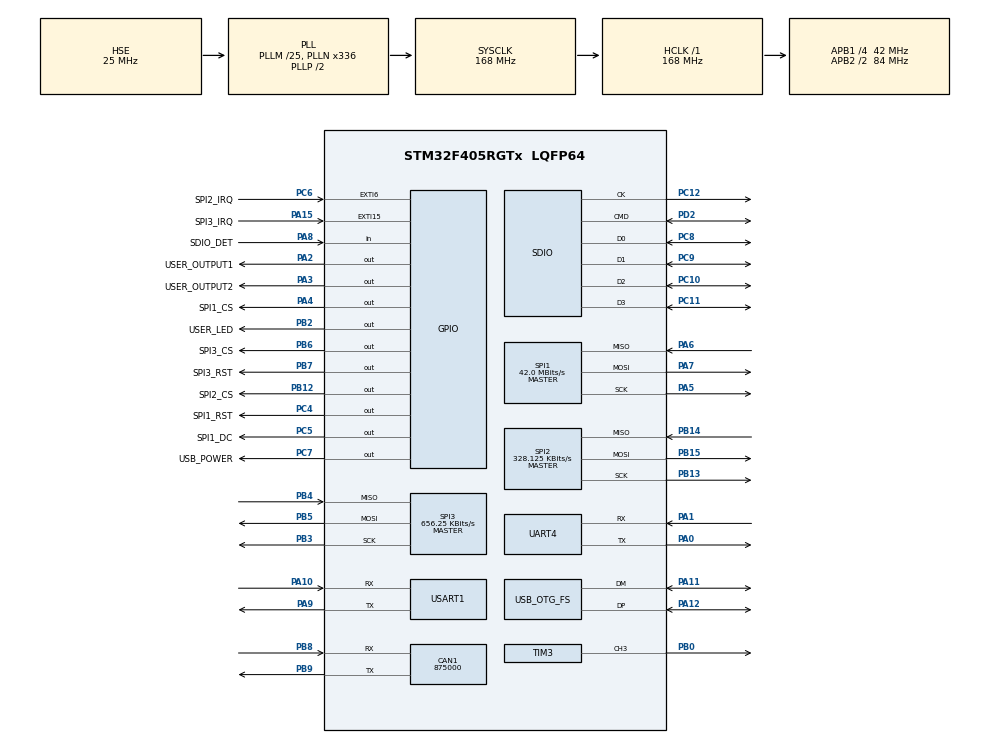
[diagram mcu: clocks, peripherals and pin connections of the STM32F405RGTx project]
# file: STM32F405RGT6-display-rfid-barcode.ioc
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ADC1.Channel-0\#ChannelRegularConversion=ADC_CHANNEL_TEMPSENSOR
ADC1.NbrOfConversionFlag=1
ADC1.Rank-0\#ChannelRegularConversion=1
ADC1.SamplingTime-0\#ChannelRegularConversion=ADC_SAMPLETIME_3CYCLES
ADC1.master=1
CAN1.CalculateBaudRate=875000
CAN1.CalculateTimeBit=1142
CAN1.CalculateTimeQuantum=380.95238095238096
Dma.Request0=SDIO
Dma.Request1=SPI1_RX
Dma.Request2=SPI1_TX
Dma.Request3=SPI2_RX
Dma.Request4=SPI2_TX
Dma.Request5=SPI3_RX
Dma.Request6=SPI3_TX
Dma.Request7=USART1_RX
Dma.Request8=USART1_TX
Dma.SDIO.0.Direction=DMA_PERIPH_TO_MEMORY
Dma.SDIO.0.FIFOMode=DMA_FIFOMODE_ENABLE
Dma.SDIO.0.FIFOThreshold=DMA_FIFO_THRESHOLD_FULL
Dma.SDIO.0.Instance=DMA2_Stream3
Dma.SDIO.0.MemBurst=DMA_MBURST_INC4
Dma.SDIO.0.MemDataAlignment=DMA_MDATAALIGN_WORD
Dma.SDIO.0.MemInc=DMA_MINC_ENABLE
Dma.SDIO.0.Mode=DMA_PFCTRL
Dma.SDIO.0.PeriphBurst=DMA_PBURST_INC4
Dma.SDIO.0.PeriphDataAlignment=DMA_PDATAALIGN_WORD
Dma.SDIO.0.PeriphInc=DMA_PINC_DISABLE
Dma.SDIO.0.Priority=DMA_PRIORITY_LOW
Dma.SPI1_RX.1.Direction=DMA_PERIPH_TO_MEMORY
Dma.SPI1_RX.1.FIFOMode=DMA_FIFOMODE_DISABLE
Dma.SPI1_RX.1.Instance=DMA2_Stream0
Dma.SPI1_RX.1.MemDataAlignment=DMA_MDATAALIGN_BYTE
Dma.SPI1_RX.1.MemInc=DMA_MINC_ENABLE
Dma.SPI1_RX.1.Mode=DMA_NORMAL
Dma.SPI1_RX.1.PeriphDataAlignment=DMA_PDATAALIGN_BYTE
Dma.SPI1_RX.1.PeriphInc=DMA_PINC_DISABLE
Dma.SPI1_RX.1.Priority=DMA_PRIORITY_LOW
Dma.SPI1_TX.2.Direction=DMA_MEMORY_TO_PERIPH
Dma.SPI1_TX.2.FIFOMode=DMA_FIFOMODE_DISABLE
Dma.SPI1_TX.2.Instance=DMA2_Stream5
Dma.SPI1_TX.2.MemDataAlignment=DMA_MDATAALIGN_BYTE
Dma.SPI1_TX.2.MemInc=DMA_MINC_ENABLE
Dma.SPI1_TX.2.Mode=DMA_NORMAL
Dma.SPI1_TX.2.PeriphDataAlignment=DMA_PDATAALIGN_BYTE
Dma.SPI1_TX.2.PeriphInc=DMA_PINC_DISABLE
Dma.SPI1_TX.2.Priority=DMA_PRIORITY_LOW
Dma.SPI2_RX.3.Direction=DMA_PERIPH_TO_MEMORY
Dma.SPI2_RX.3.FIFOMode=DMA_FIFOMODE_DISABLE
Dma.SPI2_RX.3.Instance=DMA1_Stream3
Dma.SPI2_RX.3.MemDataAlignment=DMA_MDATAALIGN_BYTE
Dma.SPI2_RX.3.MemInc=DMA_MINC_ENABLE
Dma.SPI2_RX.3.Mode=DMA_NORMAL
Dma.SPI2_RX.3.PeriphDataAlignment=DMA_PDATAALIGN_BYTE
Dma.SPI2_RX.3.PeriphInc=DMA_PINC_DISABLE
Dma.SPI2_RX.3.Priority=DMA_PRIORITY_LOW
Dma.SPI2_TX.4.Direction=DMA_MEMORY_TO_PERIPH
Dma.SPI2_TX.4.FIFOMode=DMA_FIFOMODE_DISABLE
Dma.SPI2_TX.4.Instance=DMA1_Stream4
Dma.SPI2_TX.4.MemDataAlignment=DMA_MDATAALIGN_BYTE
Dma.SPI2_TX.4.MemInc=DMA_MINC_ENABLE
Dma.SPI2_TX.4.Mode=DMA_NORMAL
Dma.SPI2_TX.4.PeriphDataAlignment=DMA_PDATAALIGN_BYTE
Dma.SPI2_TX.4.PeriphInc=DMA_PINC_DISABLE
Dma.SPI2_TX.4.Priority=DMA_PRIORITY_LOW
Dma.SPI3_RX.5.Direction=DMA_PERIPH_TO_MEMORY
Dma.SPI3_RX.5.FIFOMode=DMA_FIFOMODE_DISABLE
Dma.SPI3_RX.5.Instance=DMA1_Stream0
Dma.SPI3_RX.5.MemDataAlignment=DMA_MDATAALIGN_BYTE
Dma.SPI3_RX.5.MemInc=DMA_MINC_ENABLE
Dma.SPI3_RX.5.Mode=DMA_NORMAL
Dma.SPI3_RX.5.PeriphDataAlignment=DMA_PDATAALIGN_BYTE
Dma.SPI3_RX.5.PeriphInc=DMA_PINC_DISABLE
Dma.SPI3_RX.5.Priority=DMA_PRIORITY_LOW
Dma.SPI3_TX.6.Direction=DMA_MEMORY_TO_PERIPH
Dma.SPI3_TX.6.FIFOMode=DMA_FIFOMODE_DISABLE
Dma.SPI3_TX.6.Instance=DMA1_Stream5
Dma.SPI3_TX.6.MemDataAlignment=DMA_MDATAALIGN_BYTE
Dma.SPI3_TX.6.MemInc=DMA_MINC_ENABLE
Dma.SPI3_TX.6.Mode=DMA_NORMAL
Dma.SPI3_TX.6.PeriphDataAlignment=DMA_PDATAALIGN_BYTE
Dma.SPI3_TX.6.PeriphInc=DMA_PINC_DISABLE
Dma.SPI3_TX.6.Priority=DMA_PRIORITY_LOW
Dma.USART1_RX.7.Direction=DMA_PERIPH_TO_MEMORY
Dma.USART1_RX.7.FIFOMode=DMA_FIFOMODE_DISABLE
Dma.USART1_RX.7.Instance=DMA2_Stream2
Dma.USART1_RX.7.MemDataAlignment=DMA_MDATAALIGN_BYTE
Dma.USART1_RX.7.MemInc=DMA_MINC_ENABLE
Dma.USART1_RX.7.Mode=DMA_NORMAL
Dma.USART1_RX.7.PeriphDataAlignment=DMA_PDATAALIGN_BYTE
Dma.USART1_RX.7.PeriphInc=DMA_PINC_DISABLE
Dma.USART1_RX.7.Priority=DMA_PRIORITY_LOW
Dma.USART1_TX.8.Direction=DMA_MEMORY_TO_PERIPH
Dma.USART1_TX.8.FIFOMode=DMA_FIFOMODE_DISABLE
Dma.USART1_TX.8.Instance=DMA2_Stream7
Dma.USART1_TX.8.MemDataAlignment=DMA_MDATAALIGN_BYTE
Dma.USART1_TX.8.MemInc=DMA_MINC_ENABLE
Dma.USART1_TX.8.Mode=DMA_NORMAL
Dma.USART1_TX.8.PeriphDataAlignment=DMA_PDATAALIGN_BYTE
Dma.USART1_TX.8.PeriphInc=DMA_PINC_DISABLE
Dma.USART1_TX.8.Priority=DMA_PRIORITY_LOW
FATFS.BSP.number=1
FATFS0.BSP.STBoard=false
FATFS0.BSP.api=Unknown
FATFS0.BSP.instance=PA8
FATFS0.BSP.ip=GPIO
FATFS0.BSP.mode=Input
FATFS0.BSP.name=Detect_SDIO
FATFS0.BSP.solution=PA8
Mcu.Family=STM32F4
Mcu.Name=STM32F405RGTx
Mcu.Package=LQFP64
NVIC.CAN1_RX0_IRQn=true\:0\:0\:false\:false\:true\:true\:true\:true
NVIC.CAN1_RX1_IRQn=true\:0\:0\:false\:false\:true\:true\:true\:true
NVIC.CAN1_SCE_IRQn=true\:0\:0\:false\:false\:true\:true\:true\:true
NVIC.CAN1_TX_IRQn=true\:0\:0\:false\:false\:true\:true\:true\:true
NVIC.DMA1_Stream0_IRQn=true\:0\:0\:false\:false\:true\:false\:true\:true
NVIC.DMA1_Stream3_IRQn=true\:0\:0\:false\:false\:true\:false\:true\:true
NVIC.DMA1_Stream4_IRQn=true\:0\:0\:false\:false\:true\:false\:true\:true
NVIC.DMA1_Stream5_IRQn=true\:0\:0\:false\:false\:true\:false\:true\:true
NVIC.DMA2_Stream0_IRQn=true\:0\:0\:false\:false\:true\:false\:true\:true
NVIC.DMA2_Stream2_IRQn=true\:0\:0\:false\:false\:true\:false\:true\:true
NVIC.DMA2_Stream3_IRQn=true\:0\:0\:false\:false\:true\:false\:true\:true
NVIC.DMA2_Stream5_IRQn=true\:0\:0\:false\:false\:true\:false\:true\:true
NVIC.DMA2_Stream7_IRQn=true\:0\:0\:false\:false\:true\:false\:true\:true
NVIC.OTG_FS_IRQn=true\:0\:0\:false\:false\:true\:false\:true\:true
NVIC.PriorityGroup=NVIC_PRIORITYGROUP_4
NVIC.SDIO_IRQn=true\:0\:0\:false\:false\:true\:true\:true\:true
NVIC.SPI1_IRQn=true\:0\:0\:false\:false\:true\:true\:true\:true
NVIC.SPI2_IRQn=true\:0\:0\:false\:false\:true\:true\:true\:true
NVIC.SPI3_IRQn=true\:0\:0\:false\:false\:true\:true\:true\:true
NVIC.UART4_IRQn=true\:0\:0\:false\:false\:true\:true\:true\:true
NVIC.USART1_IRQn=true\:0\:0\:false\:false\:true\:true\:true\:true
PA0-WKUP.Mode=Asynchronous
PA0-WKUP.Signal=UART4_TX
PA1.Mode=Asynchronous
PA1.Signal=UART4_RX
PA10.Mode=Asynchronous
PA10.Signal=USART1_RX
PA11.Mode=Host_Only
PA11.Signal=USB_OTG_FS_DM
PA12.Mode=Host_Only
PA12.Signal=USB_OTG_FS_DP
PA13.Mode=Serial_Wire
PA13.Signal=SYS_JTMS-SWDIO
PA14.Mode=Serial_Wire
PA14.Signal=SYS_JTCK-SWCLK
PA15.GPIO_Label=SPI3_IRQ
PA15.Signal=GPXTI15
PA2.GPIO_Label=USER_OUTPUT1
PA2.Signal=GPIO_Output
PA3.GPIO_Label=USER_OUTPUT2
PA3.Signal=GPIO_Output
PA4.GPIO_Label=SPI1_CS
PA4.Signal=GPIO_Output
PA5.Mode=Full_Duplex_Master
PA5.Signal=SPI1_SCK
PA6.Mode=Full_Duplex_Master
PA6.Signal=SPI1_MISO
PA7.Mode=Full_Duplex_Master
PA7.Signal=SPI1_MOSI
PA8.GPIO_Label=SDIO_DET
PA8.Signal=GPIO_Input
PA9.Mode=Asynchronous
PA9.Signal=USART1_TX
PB0.Signal=S_TIM3_CH3
PB12.GPIO_Label=SPI2_CS
PB12.Signal=GPIO_Output
PB13.Mode=Full_Duplex_Master
PB13.Signal=SPI2_SCK
PB14.Mode=Full_Duplex_Master
PB14.Signal=SPI2_MISO
PB15.Mode=Full_Duplex_Master
PB15.Signal=SPI2_MOSI
PB2.GPIO_Label=USER_LED
PB2.Signal=GPIO_Output
PB3.Mode=Full_Duplex_Master
PB3.Signal=SPI3_SCK
PB4.Mode=Full_Duplex_Master
PB4.Signal=SPI3_MISO
PB5.Mode=Full_Duplex_Master
PB5.Signal=SPI3_MOSI
PB6.GPIO_Label=SPI3_CS
PB6.Signal=GPIO_Output
PB7.GPIO_Label=SPI3_RST
PB7.Signal=GPIO_Output
PB8.Mode=CAN_Activate
PB8.Signal=CAN1_RX
PB9.Mode=CAN_Activate
PB9.Signal=CAN1_TX
PC10.GPIO_PuPd=GPIO_PULLUP
PC10.Mode=SD_4_bits_Wide_bus
PC10.Signal=SDIO_D2
PC11.GPIO_PuPd=GPIO_PULLUP
PC11.Mode=SD_4_bits_Wide_bus
PC11.Signal=SDIO_D3
PC12.GPIO_PuPd=GPIO_PULLUP
PC12.Mode=SD_4_bits_Wide_bus
PC12.Signal=SDIO_CK
PC14-OSC32_IN.Mode=LSE-External-Oscillator
PC14-OSC32_IN.Signal=RCC_OSC32_IN
PC15-OSC32_OUT.Mode=LSE-External-Oscillator
PC15-OSC32_OUT.Signal=RCC_OSC32_OUT
PC4.GPIO_Label=SPI1_RST
PC4.Signal=GPIO_Output
PC5.GPIO_Label=SPI1_DC
PC5.Signal=GPIO_Output
PC6.GPIO_Label=SPI2_IRQ
PC6.Signal=GPXTI6
PC7.GPIO_Label=USB_POWER
PC7.Signal=GPIO_Output
PC8.GPIO_PuPd=GPIO_PULLUP
PC8.Mode=SD_4_bits_Wide_bus
PC8.Signal=SDIO_D0
PC9.GPIO_PuPd=GPIO_PULLUP
PC9.Mode=SD_4_bits_Wide_bus
PC9.Signal=SDIO_D1
PD2.GPIO_PuPd=GPIO_PULLUP
PD2.Mode=SD_4_bits_Wide_bus
PD2.Signal=SDIO_CMD
PH0-OSC_IN.Mode=HSE-External-Oscillator
PH0-OSC_IN.Signal=RCC_OSC_IN
PH1-OSC_OUT.Mode=HSE-External-Oscillator
PH1-OSC_OUT.Signal=RCC_OSC_OUT
ProjectManager.HeapSize=0x2000
ProjectManager.StackSize=0x4000
ProjectManager.TargetToolchain=STM32CubeIDE
RCC.48MHZClocksFreq_Value=48000000
RCC.AHBFreq_Value=168000000
RCC.APB1CLKDivider=RCC_HCLK_DIV4
RCC.APB1Freq_Value=42000000
RCC.APB1TimFreq_Value=84000000
RCC.APB2CLKDivider=RCC_HCLK_DIV2
RCC.APB2Freq_Value=84000000
RCC.APB2TimFreq_Value=168000000
RCC.CortexFreq_Value=168000000
RCC.HCLKFreq_Value=168000000
RCC.HSE_VALUE=25000000
RCC.HSI_VALUE=16000000
RCC.PLLM=25
RCC.PLLN=336
RCC.PLLQ=7
RCC.SYSCLKFreq_VALUE=168000000
RCC.SYSCLKSource=RCC_SYSCLKSOURCE_PLLCLK
RCC.VCOOutputFreq_Value=336000000
SDIO.ClockDiv=32
SH.S_TIM3_CH3.0=TIM3_CH3,PWM Generation3 CH3
SPI1.BaudRatePrescaler=SPI_BAUDRATEPRESCALER_2
SPI1.CalculateBaudRate=42.0 MBits/s
SPI1.Direction=SPI_DIRECTION_2LINES
SPI1.Mode=SPI_MODE_MASTER
SPI1.VirtualType=VM_MASTER
SPI2.BaudRatePrescaler=SPI_BAUDRATEPRESCALER_128
SPI2.CalculateBaudRate=328.125 KBits/s
SPI2.Direction=SPI_DIRECTION_2LINES
SPI2.Mode=SPI_MODE_MASTER
SPI2.VirtualType=VM_MASTER
SPI3.BaudRatePrescaler=SPI_BAUDRATEPRESCALER_64
SPI3.CalculateBaudRate=656.25 KBits/s
SPI3.Direction=SPI_DIRECTION_2LINES
SPI3.Mode=SPI_MODE_MASTER
SPI3.VirtualType=VM_MASTER
TIM3.Channel-PWM\ Generation3\ CH3=TIM_CHANNEL_3
UART4.VirtualMode=Asynchronous
USART1.VirtualMode=VM_ASYNC
USB_HOST.BSP.number=1
USB_HOST.USBH_HandleTypeDef-HID_FS=hUsbHostFS
USB_HOST.VirtualModeFS=Hid
USB_HOST0.BSP.STBoard=false
USB_HOST0.BSP.api=Unknown
USB_HOST0.BSP.condition=SW_VBUS_DRIVE_HID_FS \= false
USB_HOST0.BSP.instance=PC7
USB_HOST0.BSP.ip=GPIO
USB_HOST0.BSP.mode=Output
USB_HOST0.BSP.name=Drive_VBUS_FS
USB_HOST0.BSP.solution=PC7
USB_OTG_FS.VirtualMode=Host_Only
USB_OTG_FS.phy_itface=HCD_PHY_EMBEDDED
VP_ADC1_TempSens_Input.Mode=IN-TempSens
VP_FATFS_VS_SDIO.Mode=SDIO
VP_RTC_VS_RTC_Activate.Mode=RTC_Enabled
VP_RTC_VS_RTC_Calendar.Mode=RTC_Calendar
VP_TIM14_VS_ClockSourceINT.Mode=Enable_Timer
VP_USB_HOST_VS_USB_HOST_HID_FS.Mode=HID_FS
board=custom

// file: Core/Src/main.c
/* USER CODE BEGIN Header */
/**
 ******************************************************************************
 * @file           : main.c
 * @brief          : Main program body
 ******************************************************************************
 * @attention
 *
 * Copyright (c) 2026 STMicroelectronics.
 * All rights reserved.
 *
 * This software is licensed under terms that can be found in the LICENSE file
 * in the root directory of this software component.
 * If no LICENSE file comes with this software, it is provided AS-IS.
 *
 ******************************************************************************
 */
/* USER CODE END Header */
#include "main.h"
#include "fatfs.h"
#include "usb_host.h"

/* USER CODE BEGIN Includes */
#include "ili9488.h"
#include "xpt2046.h"
#include "clrc663.h"
#include "fonts.h"
#include <stdio.h>
#include <string.h>
#include <stdbool.h>
#include "lvgl.h"
#include "eez/ui.h"
#include "usbh_core.h"
#include "usbh_hid.h"
#include "usbh_hid_keybd.h"
/* USER CODE END Includes */

/* USER CODE BEGIN PD */
#define COLOR_BG          0x0821   // Dark Charcoal / Navy Background
#define COLOR_CARD_HERO   0x18C3   // Dark Slate Hero Card
#define COLOR_CARD_TOUCH  0x10A2   // Dark Slate Touch Card
/* USER CODE END PD */

ADC_HandleTypeDef hadc1;

CAN_HandleTypeDef hcan1;

RTC_HandleTypeDef hrtc;

SD_HandleTypeDef hsd;
DMA_HandleTypeDef hdma_sdio;

SPI_HandleTypeDef hspi1;
SPI_HandleTypeDef hspi2;
SPI_HandleTypeDef hspi3;
DMA_HandleTypeDef hdma_spi1_rx;
DMA_HandleTypeDef hdma_spi1_tx;
DMA_HandleTypeDef hdma_spi2_rx;
DMA_HandleTypeDef hdma_spi2_tx;
DMA_HandleTypeDef hdma_spi3_rx;
DMA_HandleTypeDef hdma_spi3_tx;

TIM_HandleTypeDef htim3;
TIM_HandleTypeDef htim14;

UART_HandleTypeDef huart4;
UART_HandleTypeDef huart1;
DMA_HandleTypeDef hdma_usart1_rx;
DMA_HandleTypeDef hdma_usart1_tx;

void SystemClock_Config(void);
static void MX_GPIO_Init(void);
static void MX_DMA_Init(void);
static void MX_CAN1_Init(void);
static void MX_SDIO_SD_Init(void);
static void MX_SPI1_Init(void);
static void MX_SPI2_Init(void);
static void MX_SPI3_Init(void);
static void MX_UART4_Init(void);
static void MX_USART1_UART_Init(void);
static void MX_TIM3_Init(void);
static void MX_RTC_Init(void);
static void MX_ADC1_Init(void);
static void MX_TIM14_Init(void);
void MX_USB_HOST_Process(void);

/* USER CODE BEGIN PFP */
static void my_disp_flush(lv_display_t *disp, const lv_area_t *area, uint8_t *px_map);
static void my_touchpad_read(lv_indev_t *indev, lv_indev_data_t *data);

void App_DrawMainUI(void);
void App_RFIDProcess(void);
void App_TouchProcess(void);
/* USER CODE END PFP */

/* USER CODE BEGIN 0 */
extern USBH_HandleTypeDef hUsbHostFS;

static lv_timer_t * return_main_timer = NULL;
static void return_main_cb(lv_timer_t * t) {
    loadScreen(SCREEN_ID_MAIN_SCREEN);
    return_main_timer = NULL;
}

uint8_t uart1_rx_data;
char uart1_rx_buf[256];
uint16_t uart1_rx_idx = 0;
volatile uint8_t uart1_rx_ready = 0;

volatile uint32_t last_activity_time = 0;
volatile bool door_is_open = false;
volatile uint32_t door_open_time = 0;
int door_duration_s = 5;
int standby_duration_m = 5;

void HAL_UART_RxCpltCallback(UART_HandleTypeDef *huart) {
    if (huart->Instance == USART1) {
        if (uart1_rx_data == '\n' || uart1_rx_data == '\r') {
            uart1_rx_buf[uart1_rx_idx] = '\0';
            if (uart1_rx_idx > 0) {
                uart1_rx_ready = 1;
            }
        } else {
            if (uart1_rx_idx < sizeof(uart1_rx_buf) - 1) {
                uart1_rx_buf[uart1_rx_idx++] = uart1_rx_data;
            }
        }
        if (!uart1_rx_ready) {
            HAL_UART_Receive_IT(&huart1, &uart1_rx_data, 1);
        }
        last_activity_time = HAL_GetTick(); // Wake up on UART
    }
}

static void rtc_update_timer_cb(lv_timer_t * timer) {
    if (objects.obj0 != NULL && lv_obj_is_valid(objects.obj0)) {
        RTC_TimeTypeDef sTime = {0};
        RTC_DateTypeDef sDate = {0};
        HAL_RTC_GetTime(&hrtc, &sTime, RTC_FORMAT_BIN);
        HAL_RTC_GetDate(&hrtc, &sDate, RTC_FORMAT_BIN);

        char buf[64];
        snprintf(buf, sizeof(buf), "%02d:%02d:%02d - %02d/%02d/20%02d",
                 sTime.Hours, sTime.Minutes, sTime.Seconds,
                 sDate.Date, sDate.Month, sDate.Year);
        lv_label_set_text(objects.obj0, buf);
    }
}

void USBH_HID_EventCallback(USBH_HandleTypeDef *phost)
{
    if (phost == &hUsbHostFS)
    {
        HID_KEYBD_Info_TypeDef *k_pinfo;
        k_pinfo = USBH_HID_GetKeybdInfo(phost);

        if (k_pinfo != NULL && k_pinfo->keys[0] != 0)
        {
            char c = USBH_HID_GetASCIICode(k_pinfo);
            static char barcode[64];
            static int b_idx = 0;

            if (c != 0) {
                if (c == '\n' || c == '\r') {
                    barcode[b_idx] = '\0';
                    if (b_idx > 0) {
                        char msg[128];
                        snprintf(msg, sizeof(msg), "BARCODE:%s\n", barcode);
                        HAL_UART_Transmit(&huart1, (uint8_t*)msg, strlen(msg), 100);
                        b_idx = 0;
                    }
                } else {
                    if (b_idx < sizeof(barcode) - 1) {
                        barcode[b_idx++] = c;
                    }
                }
            }
        }
    }
}

static void my_disp_flush(lv_display_t *disp, const lv_area_t *area, uint8_t *px_map) {
  ILI9488_DrawBitmapLVGL(area->x1, area->y1, area->x2, area->y2, px_map);
  lv_display_flush_ready(disp);
}

// Forward declarations for EEZ Studio functions
extern void loadScreen(enum ScreensEnum screenId);
extern objects_t objects;

// Timer callback to switch to Admin Password screen
static lv_timer_t *admin_timer = NULL;
static void go_admin_cb(lv_timer_t *t) {
  if (objects.textarea_input_password != NULL) {
    lv_textarea_set_text(objects.textarea_input_password, "");
  }
  loadScreen(SCREEN_ID_ADMIN_PASSWORD);
}

// Admin login button pressed on Main Screen
void action_btn_admin_on_pressed(lv_event_t *e) {
  if (admin_timer == NULL) {
    admin_timer = lv_timer_create(go_admin_cb, 50, NULL);
    lv_timer_set_repeat_count(admin_timer, 1);
  } else {
    lv_timer_resume(admin_timer);
    lv_timer_reset(admin_timer);
  }
}

// Dummy for unused actions
void action_button_matrix_password_pressed(lv_event_t * e) {}

// Keypad Actions
static void add_pwd_char(const char *c) {
    if (objects.textarea_input_password != NULL) {
        lv_textarea_add_text(objects.textarea_input_password, c);
    }
}
void action_pwd_btn_1_pressed(lv_event_t * e) { add_pwd_char("1"); }
void action_pwd_btn_2_pressed(lv_event_t * e) { add_pwd_char("2"); }
void action_pwd_btn_3_pressed(lv_event_t * e) { add_pwd_char("3"); }
void action_pwd_btn_4_pressed(lv_event_t * e) { add_pwd_char("4"); }
void action_pwd_btn_5_pressed(lv_event_t * e) { add_pwd_char("5"); }
void action_pwd_btn_6_pressed(lv_event_t * e) { add_pwd_char("6"); }
void action_pwd_btn_7_pressed(lv_event_t * e) { add_pwd_char("7"); }
void action_pwd_btn_8_pressed(lv_event_t * e) { add_pwd_char("8"); }
void action_pwd_btn_9_pressed(lv_event_t * e) { add_pwd_char("9"); }
void action_pwd_btn_0_pressed(lv_event_t * e) { add_pwd_char("0"); }
void action_pwd_btn_del_pressed(lv_event_t * e) {
    if (objects.textarea_input_password != NULL) {
        lv_textarea_delete_char(objects.textarea_input_password);
    }
}
void action_pwd_btn_ok_pressed(lv_event_t * e) {
    if (objects.textarea_input_password != NULL) {
        const char *pwd = lv_textarea_get_text(objects.textarea_input_password);
        if (strcmp(pwd, "1234") == 0) { // Password "1234"
            loadScreen(SCREEN_ID_ADMIN_USERS);
            lv_textarea_set_text(objects.textarea_input_password, ""); // clear for next time
        } else {
            // Wrong password, clear textarea
            lv_textarea_set_text(objects.textarea_input_password, "");
        }
    }
}

// Load Screens
void action_load_admin_users(lv_event_t * e) { loadScreen(SCREEN_ID_ADMIN_USERS); }
void action_load_admin_history(lv_event_t * e) { loadScreen(SCREEN_ID_ADMIN_HISTORY); }
void action_load_admin_settings(lv_event_t * e) { loadScreen(SCREEN_ID_ADMIN_SETTINGS); }
void action_load_admin_test(lv_event_t * e) { loadScreen(SCREEN_ID_ADMIN_TEST); }
void action_load_main(lv_event_t * e) { loadScreen(SCREEN_ID_MAIN_SCREEN); }

static uint32_t corner_touch_start = 0;
static bool corner_touching = false;

static void my_touchpad_read(lv_indev_t *indev, lv_indev_data_t *data) {
  uint16_t touch_x = 0, touch_y = 0;
  if (XPT2046_GetTouch(&touch_x, &touch_y)) {
    data->state = LV_INDEV_STATE_PRESSED;
    data->point.x = touch_x;
    data->point.y = touch_y;
    last_activity_time = HAL_GetTick();

    if (touch_x > 400 && touch_y > 260 && lv_scr_act() == objects.main_screen) {
        if (!corner_touching) {
            corner_touching = true;
            corner_touch_start = HAL_GetTick();
        } else {
            if (HAL_GetTick() - corner_touch_start >= 3000) {
                if (objects.textarea_input_password != NULL) {
                    lv_textarea_set_text(objects.textarea_input_password, "");
                }
                loadScreen(SCREEN_ID_ADMIN_PASSWORD);
                corner_touching = false;
            }
        }
    } else {
        corner_touching = false;
    }
  } else {
    data->state = LV_INDEV_STATE_RELEASED;
    corner_touching = false;
  }
}

/* Global RFID & System states */
bool g_clrc663_ready = false;
uint8_t g_clrc663_version = 0;
uint32_t g_card_read_count = 0;
bool g_card_active = false;

/**
 * @brief  Menggambar antarmuka utama RFID & Display pada layar ILI9488
 */
void App_DrawMainUI(void) {
	// 1. Bersihkan layar dengan warna latar gelap modern
	ILI9488_FillScreen(COLOR_BG);

	// 2. Header Bar di bagian atas
	ILI9488_FillRectangle(0, 0, ILI9488_WIDTH, 38, ILI9488_NAVY);
	ILI9488_DrawLine(0, 38, ILI9488_WIDTH - 1, 38, ILI9488_CYAN);
	ILI9488_WriteStringScaled(18, 10, "STM32F405 - RFID & DISPLAY SYSTEM", Font_7x10,
			ILI9488_WHITE, ILI9488_NAVY, 2);

	// 3. Card Panel RFID Reader (NXP CLRC66303 - SPI3)
	ILI9488_FillRectangle(15, 44, 450, 130, COLOR_CARD_HERO);
	ILI9488_DrawRectangle(15, 44, 450, 130, ILI9488_CYAN);

	// Judul modul RFID & Status Chip
	ILI9488_WriteStringScaled(25, 52, "RFID CLRC66303 (SPI3)", Font_7x10,
			ILI9488_CYAN, COLOR_CARD_HERO, 2);

	if (g_clrc663_ready) {
		char ver_buf[20];
		snprintf(ver_buf, sizeof(ver_buf), "[READY v0x%02X]", g_clrc663_version);
		ILI9488_WriteString(320, 54, ver_buf, Font_7x10, ILI9488_GREEN, COLOR_CARD_HERO);
	} else {
		ILI9488_WriteString(320, 54, "[CHIP NOT FOUND]", Font_7x10, ILI9488_RED, COLOR_CARD_HERO);
	}

	ILI9488_DrawLine(25, 72, 450, 72, ILI9488_DARKGREY);

	// Informasi status pembacaan RFID
	ILI9488_WriteString(25, 78, "Status  : Dekatkan Kartu RFID (ISO14443A)...",
			Font_7x10, ILI9488_YELLOW, COLOR_CARD_HERO);
	ILI9488_WriteStringScaled(25, 96, "UID: -- -- -- --          ", Font_7x10,
			ILI9488_WHITE, COLOR_CARD_HERO, 2);
	ILI9488_WriteString(25, 126, "Tipe    : - (Menunggu kartu...)               ",
			Font_7x10, ILI9488_LIGHTGREY, COLOR_CARD_HERO);
	ILI9488_WriteString(25, 146, "Baca    : 0 kali  |  ATQA: --  |  SAK: --     ",
			Font_7x10, ILI9488_LIGHTGREY, COLOR_CARD_HERO);

	// 4. Card Panel Touch Screen (XPT2046 - SPI2)
	ILI9488_FillRectangle(15, 182, 450, 116, COLOR_CARD_TOUCH);
	ILI9488_DrawRectangle(15, 182, 450, 116, ILI9488_DARKGREY);

	// Header panel sentuh
	ILI9488_WriteStringScaled(25, 190, "TOUCH SCREEN (XPT2046)", Font_7x10,
			ILI9488_CYAN, COLOR_CARD_TOUCH, 2);

	// Status & Koordinat awal
	ILI9488_WriteString(25, 216, "Status  : Menunggu Sentuhan...", Font_7x10,
			ILI9488_WHITE, COLOR_CARD_TOUCH);
	ILI9488_WriteStringScaled(25, 236, "X : ---   |   Y : ---", Font_7x10,
			ILI9488_GREEN, COLOR_CARD_TOUCH, 2);
	ILI9488_WriteString(25, 276, "Sentuh layar atau dekatkan kartu RFID!",
			Font_7x10, ILI9488_LIGHTGREY, COLOR_CARD_TOUCH);

	// Tombol Interaktif di sebelah kanan
	ILI9488_FillRectangle(325, 195, 125, 88, ILI9488_BLUE);
	ILI9488_DrawRectangle(325, 195, 125, 88, ILI9488_WHITE);
	ILI9488_WriteStringScaled(340, 216, "SENTUH", Font_7x10, ILI9488_WHITE,
			ILI9488_BLUE, 2);
	ILI9488_WriteStringScaled(340, 242, "DISINI", Font_7x10, ILI9488_WHITE,
			ILI9488_BLUE, 2);

	// 5. Footer status bar
	ILI9488_WriteString(18, 305, "SPI1: LCD ILI9488 | SPI2: XPT2046 Touch | SPI3: CLRC663 RFID",
			Font_7x10, ILI9488_DARKGREY, COLOR_BG);
}

/**
 * @brief  Membaca dan memproses kartu RFID dari chip NXP CLRC66303 (SPI3)
 */
void App_RFIDProcess(void) {
	static uint32_t last_scan_time = 0;

	// Jalankan pembacaan setiap 100 ms
	if (HAL_GetTick() - last_scan_time < 100) {
		return;
	}
	last_scan_time = HAL_GetTick();

	// Jika modul belum siap, coba inisialisasi ulang
	if (!g_clrc663_ready) {
		if (CLRC663_Init(&hspi3) == CLRC663_OK) {
			g_clrc663_ready = true;
		}
		return;
	}

	CLRC663_Card_t card;
	if (CLRC663_ReadCard(&card)) {
		if (!g_card_active) {
			g_card_active = true;
			HAL_GPIO_WritePin(USER_LED_GPIO_Port, USER_LED_Pin, GPIO_PIN_SET);
			last_activity_time = HAL_GetTick();

			// Send to ESP32
			char msg[64];
			if (card.uid_len >= 4) {
			    snprintf(msg, sizeof(msg), "RFID:%02X%02X%02X%02X\n",
			             card.uid[0], card.uid[1], card.uid[2], card.uid[3]);
			} else {
			    snprintf(msg, sizeof(msg), "RFID:UNKNOWN\n");
			}
			HAL_UART_Transmit(&huart1, (uint8_t*)msg, strlen(msg), 100);
		}
	} else {
		if (g_card_active) {
			g_card_active = false;
			HAL_GPIO_WritePin(USER_LED_GPIO_Port, USER_LED_Pin, GPIO_PIN_RESET);
		}
	}
}

/**
 * @brief  Membaca dan memproses input sentuh dari chip XPT2046
 */
void App_TouchProcess(void) {
	uint16_t x = 0, y = 0;
	static uint32_t last_touch_time = 0;
	static bool is_touched = false;
	static uint32_t touch_count = 0;
	static uint16_t prev_x = 0, prev_y = 0;

	if (XPT2046_GetTouch(&x, &y)) {
		HAL_GPIO_WritePin(USER_LED_GPIO_Port, USER_LED_Pin, GPIO_PIN_SET);
		last_touch_time = HAL_GetTick();

		if (!is_touched) {
			is_touched = true;
			touch_count++;

			// Animasi tombol ketika ditekan (ubah ke warna Hijau Gelap)
			ILI9488_FillRectangle(325, 195, 125, 88, ILI9488_DARKGREEN);
			ILI9488_DrawRectangle(325, 195, 125, 88, ILI9488_GREENYELLOW);
			ILI9488_WriteStringScaled(335, 216, "TERTEKAN", Font_7x10,
					ILI9488_WHITE, ILI9488_DARKGREEN, 2);
			ILI9488_WriteStringScaled(350, 242, "OK!", Font_7x10,
					ILI9488_YELLOW, ILI9488_DARKGREEN, 2);

			// Perbarui status sentuh
			ILI9488_WriteString(25, 216, "Status  : Layar Disentuh!     ",
					Font_7x10, ILI9488_GREENYELLOW, COLOR_CARD_TOUCH);
		}

		// Perbarui koordinat hanya jika ada perpindahan posisi
		if (x != prev_x || y != prev_y) {
			char coord_buf[32];
			snprintf(coord_buf, sizeof(coord_buf), "X : %03u   |   Y : %03u", x, y);
			ILI9488_WriteStringScaled(25, 236, coord_buf, Font_7x10,
					ILI9488_GREEN, COLOR_CARD_TOUCH, 2);

			char count_buf[48];
			snprintf(count_buf, sizeof(count_buf), "Total Sentuhan: %lu kali  [X:%u, Y:%u]    ",
					(unsigned long)touch_count, x, y);
			ILI9488_WriteString(25, 276, count_buf, Font_7x10, ILI9488_CYAN,
					COLOR_CARD_TOUCH);

			// Gambar titik kecil penanda lokasi sentuh jika di luar teks
			if (y < 180 || y > 300 || x < 15 || x > 465) {
				ILI9488_FillRectangle(x > 1 ? x - 1 : 0, y > 1 ? y - 1 : 0, 3, 3,
						ILI9488_RED);
			}

			prev_x = x;
			prev_y = y;
		}
	} else {
		// Efek debounce lepas sentuhan setelah 150 ms
		if (is_touched && (HAL_GetTick() - last_touch_time > 150)) {
			is_touched = false;
			if (!g_card_active) {
				HAL_GPIO_WritePin(USER_LED_GPIO_Port, USER_LED_Pin, GPIO_PIN_RESET);
			}

			// Kembalikan tombol ke warna Biru normal
			ILI9488_FillRectangle(325, 195, 125, 88, ILI9488_BLUE);
			ILI9488_DrawRectangle(325, 195, 125, 88, ILI9488_WHITE);
			ILI9488_WriteStringScaled(340, 216, "SENTUH", Font_7x10,
					ILI9488_WHITE, ILI9488_BLUE, 2);
			ILI9488_WriteStringScaled(340, 242, "DISINI", Font_7x10,
					ILI9488_WHITE, ILI9488_BLUE, 2);

			// Kembalikan teks status
			ILI9488_WriteString(25, 216, "Status  : Menunggu Sentuhan...",
					Font_7x10, ILI9488_WHITE, COLOR_CARD_TOUCH);
		}
		}
}

static void btn_settings_save_cb(lv_event_t *e) {
    const char *ssid = lv_textarea_get_text(objects.inp_ssid);
    const char *pass = lv_textarea_get_text(objects.inp_pass);
    const char *ip = lv_textarea_get_text(objects.inp_ip);
    char msg[128];
    snprintf(msg, sizeof(msg), "WIFI:%s|%s|%s\n", ssid, pass, ip);
    HAL_UART_Transmit(&huart1, (uint8_t*)msg, strlen(msg), 100);
}

static void btn_settings_save_1_cb(lv_event_t *e) {
    char msg[] = "CMD:SYNC_TIME\n";
    HAL_UART_Transmit(&huart1, (uint8_t*)msg, strlen(msg), 100);
}

static void slider_brightness_cb(lv_event_t *e) {
    lv_obj_t *slider = lv_event_get_target(e);
    int val = lv_slider_get_value(slider);
    __HAL_TIM_SET_COMPARE(&htim3, TIM_CHANNEL_3, (uint32_t)(val * 65535 / 100));
    last_activity_time = HAL_GetTick();
}

static void slider_relay_cb(lv_event_t *e) {
    lv_obj_t *slider = lv_event_get_target(e);
    door_duration_s = lv_slider_get_value(slider);
    last_activity_time = HAL_GetTick();
}

static void slider_relay_1_cb(lv_event_t *e) {
    lv_obj_t *slider = lv_event_get_target(e);
    standby_duration_m = lv_slider_get_value(slider);
    last_activity_time = HAL_GetTick();
}

static lv_obj_t * kb = NULL;
static void ta_event_cb(lv_event_t * e) {
    lv_event_code_t code = lv_event_get_code(e);
    lv_obj_t * ta = lv_event_get_target(e);
    if(code == LV_EVENT_FOCUSED) {
        if(kb == NULL) {
            kb = lv_keyboard_create(lv_scr_act());
            lv_obj_set_size(kb, 480, 160);
            lv_obj_align(kb, LV_ALIGN_BOTTOM_MID, 0, 0);
        } else if (lv_obj_get_parent(kb) != lv_scr_act()) {
            lv_obj_set_parent(kb, lv_scr_act());
        }
        lv_keyboard_set_textarea(kb, ta);
        lv_obj_clear_flag(kb, LV_OBJ_FLAG_HIDDEN);
        lv_obj_move_foreground(kb);
    }
    if(code == LV_EVENT_DEFOCUSED || code == LV_EVENT_READY || code == LV_EVENT_CANCEL) {
        if(kb != NULL) {
            lv_obj_add_flag(kb, LV_OBJ_FLAG_HIDDEN);
        }
        if(code == LV_EVENT_READY || code == LV_EVENT_CANCEL) {
            lv_obj_remove_state(ta, LV_STATE_FOCUSED);
        }
    }
}

/* USER CODE END 0 */

int main(void)
{

  /* MCU Configuration--------------------------------------------------------*/

  /* Reset of all peripherals, Initializes the Flash interface and the Systick. */
  HAL_Init();

  /* Configure the system clock */
  SystemClock_Config();

  /* Initialize all configured peripherals */
  MX_GPIO_Init();
  MX_DMA_Init();
  MX_CAN1_Init();
  MX_SDIO_SD_Init();
  MX_SPI1_Init();
  MX_SPI2_Init();
  MX_SPI3_Init();
  MX_UART4_Init();
  MX_USART1_UART_Init();
  MX_USB_HOST_Init();
  MX_TIM3_Init();
  MX_FATFS_Init();
  MX_RTC_Init();
  MX_ADC1_Init();
  MX_TIM14_Init();
  /* USER CODE BEGIN 2 */
	// 1. Nyalakan Backlight Layar via PWM TIM3 Channel 3 (PB0) ~75% brightness

	// 1. Nyalakan Backlight Layar (Force HIGH as GPIO)
	HAL_TIM_PWM_Stop(&htim3, TIM_CHANNEL_3);
	GPIO_InitTypeDef GPIO_InitStruct = {0};
	GPIO_InitStruct.Pin = GPIO_PIN_0;
	GPIO_InitStruct.Mode = GPIO_MODE_OUTPUT_PP;
	GPIO_InitStruct.Pull = GPIO_NOPULL;
	GPIO_InitStruct.Speed = GPIO_SPEED_FREQ_LOW;
	HAL_GPIO_Init(GPIOB, &GPIO_InitStruct);
	HAL_GPIO_WritePin(GPIOB, GPIO_PIN_0, GPIO_PIN_SET);

	// 2. Inisialisasi Layar TFT ILI9488 (SPI1) dan Touch Controller XPT2046 (SPI2)
	ILI9488_Init();
	XPT2046_Init();

	// 3. Inisialisasi RFID Reader NXP CLRC66303 (SPI3)
	if (CLRC663_Init(&hspi3) == CLRC663_OK) {
		g_clrc663_ready = true;
		g_clrc663_version = CLRC663_ReadVersion();
	} else {
		g_clrc663_ready = false;
		g_clrc663_version = CLRC663_ReadVersion();
	}

	// 4. Tampilkan Antarmuka Utama RFID & Touch pada Layar LCD
	// App_DrawMainUI(); // Commented out for LVGL

	// --- LVGL Setup ---
	lv_init();

	// 1. Display Setup
	lv_display_t *disp = lv_display_create(ILI9488_WIDTH, ILI9488_HEIGHT);
	lv_display_set_color_format(disp, LV_COLOR_FORMAT_RGB888);
	lv_display_set_flush_cb(disp, my_disp_flush);

	// Create a draw buffer for LVGL
	#define DRAW_BUF_SIZE (ILI9488_WIDTH * ILI9488_HEIGHT / 10 * 1)
	static uint8_t buf1[DRAW_BUF_SIZE] __attribute__((aligned(64)));
	lv_display_set_buffers(disp, buf1, NULL, sizeof(buf1), LV_DISPLAY_RENDER_MODE_PARTIAL);

	// 2. Input Device Setup (Touch)
	lv_indev_t *indev = lv_indev_create();
	lv_indev_set_type(indev, LV_INDEV_TYPE_POINTER);
	lv_indev_set_read_cb(indev, my_touchpad_read);

	// Start TIM14 for LVGL tick
	HAL_TIM_Base_Start_IT(&htim14);

	// Initialize EEZ Studio UI
	ui_init();

	// Add custom events for settings
	if (objects.btn_settings_save) {
	    lv_obj_add_event_cb(objects.btn_settings_save, btn_settings_save_cb, LV_EVENT_CLICKED, NULL);
	}
	if (objects.btn_settings_save_1) {
	    lv_obj_add_event_cb(objects.btn_settings_save_1, btn_settings_save_1_cb, LV_EVENT_CLICKED, NULL);
	}
	if (objects.slider_brightness) {
	    lv_obj_add_event_cb(objects.slider_brightness, slider_brightness_cb, LV_EVENT_VALUE_CHANGED, NULL);
	}
	if (objects.slider_relay) {
	    lv_obj_add_event_cb(objects.slider_relay, slider_relay_cb, LV_EVENT_VALUE_CHANGED, NULL);
	}
	if (objects.slider_relay_1) {
	    lv_obj_add_event_cb(objects.slider_relay_1, slider_relay_1_cb, LV_EVENT_VALUE_CHANGED, NULL);
	}

	// QWERTY keyboard for text inputs instead of 12-button simple_keyboard
	if (objects.inp_ssid) lv_obj_add_event_cb(objects.inp_ssid, ta_event_cb, LV_EVENT_ALL, NULL);
	if (objects.inp_pass) lv_obj_add_event_cb(objects.inp_pass, ta_event_cb, LV_EVENT_ALL, NULL);
	if (objects.inp_ip) lv_obj_add_event_cb(objects.inp_ip, ta_event_cb, LV_EVENT_ALL, NULL);

	// Start RTC update timer (Update setiap 1 detik)
	lv_timer_create(rtc_update_timer_cb, 1000, NULL);

	// Start receiving UART from ESP32
	HAL_UART_Receive_IT(&huart1, &uart1_rx_data, 1);
  /* USER CODE END 2 */

  /* Infinite loop */
  /* USER CODE BEGIN WHILE */
	uint32_t last_tick = HAL_GetTick();
	uint32_t last_heartbeat = 0;
	while (1) {
		uint32_t current_tick = HAL_GetTick();
		if (current_tick > last_tick) {
			lv_tick_inc(current_tick - last_tick);
		}
		last_tick = current_tick;
		lv_timer_handler();

		MX_USB_HOST_Process();

		// 1. Proses pembacaan kartu RFID CLRC66303 (SPI3)
		App_RFIDProcess();

		// 2. Proses pembacaan sentuhan layar XPT2046 (SPI2)
		// App_TouchProcess();

		// 3. Heartbeat LED (berkedip setiap 1 detik saat idle dan tidak ada kartu/sentuhan aktif)
		if (!g_card_active && !XPT2046_IsTouched()) {
			if (HAL_GetTick() - last_heartbeat >= 1000) {
				last_heartbeat = HAL_GetTick();
				HAL_GPIO_TogglePin(USER_LED_GPIO_Port, USER_LED_Pin);
			}
		}

		// 4. Process UART Rx
        if (uart1_rx_ready) {
            if (strncmp(uart1_rx_buf, "GRANTED:", 8) == 0) {
                char *data = uart1_rx_buf + 8;
                char *id = strtok(data, "|");
                char *name = strtok(NULL, "|");
                char *pos = strtok(NULL, "|");

                loadScreen(SCREEN_ID_ACCESS_ACCEPTED);
                if (objects.label_acc_name && lv_obj_is_valid(objects.label_acc_name)) {
                    if (name) {
                        lv_label_set_text(objects.label_acc_name, name);
                    } else {
                        lv_label_set_text(objects.label_acc_name, "Akses Diterima");
                    }
                }

                // Open door
                HAL_GPIO_WritePin(GPIOA, USER_OUTPUT2_Pin, GPIO_PIN_SET);
                door_open_time = HAL_GetTick();
                door_is_open = true;

                if (return_main_timer != NULL) {
                    lv_timer_delete(return_main_timer);
                }
                return_main_timer = lv_timer_create(return_main_cb, 3000, NULL);
                lv_timer_set_repeat_count(return_main_timer, 1);
            }
            else if (strncmp(uart1_rx_buf, "DENIED:", 7) == 0 || strncmp(uart1_rx_buf, "TIME_ERR:", 9) == 0) {
                char *reason;
                if (strncmp(uart1_rx_buf, "DENIED:", 7) == 0) reason = uart1_rx_buf + 7;
                else reason = uart1_rx_buf + 9;

                loadScreen(SCREEN_ID_ACCESS_REJECTED);
                if (objects.label_rej_reason && lv_obj_is_valid(objects.label_rej_reason)) {
                    lv_label_set_text(objects.label_rej_reason, reason);
                }

                if (return_main_timer != NULL) {
                    lv_timer_delete(return_main_timer);
                }
                return_main_timer = lv_timer_create(return_main_cb, 3000, NULL);
                lv_timer_set_repeat_count(return_main_timer, 1);
            }
            else if (strncmp(uart1_rx_buf, "TIME:", 5) == 0) {
                int year, month, day, hour, min, sec;
                if (sscanf(uart1_rx_buf + 5, "%d-%d-%d %d:%d:%d", &year, &month, &day, &hour, &min, &sec) == 6) {
                    RTC_TimeTypeDef sTime = {0};
                    RTC_DateTypeDef sDate = {0};
                    sTime.Hours = hour;
                    sTime.Minutes = min;
                    sTime.Seconds = sec;
                    sDate.Year = year % 100;
                    sDate.Month = month;
                    sDate.Date = day;
                    HAL_RTC_SetTime(&hrtc, &sTime, RTC_FORMAT_BIN);
                    HAL_RTC_SetDate(&hrtc, &sDate, RTC_FORMAT_BIN);
                }
            }

            uart1_rx_idx = 0;
            uart1_rx_ready = 0;
            HAL_UART_Receive_IT(&huart1, &uart1_rx_data, 1); // Resume receiving
        }

        // Handle Door Lock Timer
        if (door_is_open && (HAL_GetTick() - door_open_time > (door_duration_s * 1000))) {
            HAL_GPIO_WritePin(GPIOA, USER_OUTPUT2_Pin, GPIO_PIN_RESET);
            door_is_open = false;
        }

        // Handle Standby Display
        if (HAL_GetTick() - last_activity_time > (standby_duration_m * 60000)) {
            __HAL_TIM_SET_COMPARE(&htim3, TIM_CHANNEL_3, 0); // Turn off backlight
        } else {
            if (__HAL_TIM_GET_COMPARE(&htim3, TIM_CHANNEL_3) == 0) {
                // Wake up
                int val = 25;
                if (objects.slider_brightness) val = lv_slider_get_value(objects.slider_brightness);
                __HAL_TIM_SET_COMPARE(&htim3, TIM_CHANNEL_3, (uint32_t)(val * 65535 / 100));
            }
        }
    /* USER CODE END WHILE */
    MX_USB_HOST_Process();

    /* USER CODE BEGIN 3 */
		ui_tick();
	}
  /* USER CODE END 3 */
}

void SystemClock_Config(void)
{
  RCC_OscInitTypeDef RCC_OscInitStruct = {0};
  RCC_ClkInitTypeDef RCC_ClkInitStruct = {0};

  /** Configure the main internal regulator output voltage
  */
  __HAL_RCC_PWR_CLK_ENABLE();
  __HAL_PWR_VOLTAGESCALING_CONFIG(PWR_REGULATOR_VOLTAGE_SCALE1);

  /** Initializes the RCC Oscillators according to the specified parameters
  * in the RCC_OscInitTypeDef structure.
  */
  RCC_OscInitStruct.OscillatorType = RCC_OSCILLATORTYPE_LSI|RCC_OSCILLATORTYPE_HSE;
  RCC_OscInitStruct.HSEState = RCC_HSE_ON;
  RCC_OscInitStruct.LSIState = RCC_LSI_ON;
  RCC_OscInitStruct.PLL.PLLState = RCC_PLL_ON;
  RCC_OscInitStruct.PLL.PLLSource = RCC_PLLSOURCE_HSE;
  RCC_OscInitStruct.PLL.PLLM = 25;
  RCC_OscInitStruct.PLL.PLLN = 336;
  RCC_OscInitStruct.PLL.PLLP = RCC_PLLP_DIV2;
  RCC_OscInitStruct.PLL.PLLQ = 7;
  if (HAL_RCC_OscConfig(&RCC_OscInitStruct) != HAL_OK)
  {
    Error_Handler();
  }

  /** Initializes the CPU, AHB and APB buses clocks
  */
  RCC_ClkInitStruct.ClockType = RCC_CLOCKTYPE_HCLK|RCC_CLOCKTYPE_SYSCLK
                              |RCC_CLOCKTYPE_PCLK1|RCC_CLOCKTYPE_PCLK2;
  RCC_ClkInitStruct.SYSCLKSource = RCC_SYSCLKSOURCE_PLLCLK;
  RCC_ClkInitStruct.AHBCLKDivider = RCC_SYSCLK_DIV1;
  RCC_ClkInitStruct.APB1CLKDivider = RCC_HCLK_DIV4;
  RCC_ClkInitStruct.APB2CLKDivider = RCC_HCLK_DIV2;

  if (HAL_RCC_ClockConfig(&RCC_ClkInitStruct, FLASH_LATENCY_5) != HAL_OK)
  {
    Error_Handler();
  }
}

static void MX_ADC1_Init(void)
{

  ADC_ChannelConfTypeDef sConfig = {0};

  /** Configure the global features of the ADC (Clock, Resolution, Data Alignment and number of conversion)
  */
  hadc1.Instance = ADC1;
  hadc1.Init.ClockPrescaler = ADC_CLOCK_SYNC_PCLK_DIV4;
  hadc1.Init.Resolution = ADC_RESOLUTION_12B;
  hadc1.Init.ScanConvMode = DISABLE;
  hadc1.Init.ContinuousConvMode = DISABLE;
  hadc1.Init.DiscontinuousConvMode = DISABLE;
  hadc1.Init.ExternalTrigConvEdge = ADC_EXTERNALTRIGCONVEDGE_NONE;
  hadc1.Init.ExternalTrigConv = ADC_SOFTWARE_START;
  hadc1.Init.DataAlign = ADC_DATAALIGN_RIGHT;
  hadc1.Init.NbrOfConversion = 1;
  hadc1.Init.DMAContinuousRequests = DISABLE;
  hadc1.Init.EOCSelection = ADC_EOC_SINGLE_CONV;
  if (HAL_ADC_Init(&hadc1) != HAL_OK)
  {
    Error_Handler();
  }

  /** Configure for the selected ADC regular channel its corresponding rank in the sequencer and its sample time.
  */
  sConfig.Channel = ADC_CHANNEL_TEMPSENSOR;
  sConfig.Rank = 1;
  sConfig.SamplingTime = ADC_SAMPLETIME_3CYCLES;
  if (HAL_ADC_ConfigChannel(&hadc1, &sConfig) != HAL_OK)
  {
    Error_Handler();
  }

}

static void MX_CAN1_Init(void)
{

  hcan1.Instance = CAN1;
  hcan1.Init.Prescaler = 16;
  hcan1.Init.Mode = CAN_MODE_NORMAL;
  hcan1.Init.SyncJumpWidth = CAN_SJW_1TQ;
  hcan1.Init.TimeSeg1 = CAN_BS1_1TQ;
  hcan1.Init.TimeSeg2 = CAN_BS2_1TQ;
  hcan1.Init.TimeTriggeredMode = DISABLE;
  hcan1.Init.AutoBusOff = DISABLE;
  hcan1.Init.AutoWakeUp = DISABLE;
  hcan1.Init.AutoRetransmission = DISABLE;
  hcan1.Init.ReceiveFifoLocked = DISABLE;
  hcan1.Init.TransmitFifoPriority = DISABLE;
  if (HAL_CAN_Init(&hcan1) != HAL_OK)
  {
    Error_Handler();
  }

}

static void MX_RTC_Init(void)
{

  RTC_TimeTypeDef sTime = {0};
  RTC_DateTypeDef sDate = {0};

  /** Initialize RTC Only
  */
  hrtc.Instance = RTC;
  hrtc.Init.HourFormat = RTC_HOURFORMAT_24;
  hrtc.Init.AsynchPrediv = 127;
  hrtc.Init.SynchPrediv = 255;
  hrtc.Init.OutPut = RTC_OUTPUT_DISABLE;
  hrtc.Init.OutPutPolarity = RTC_OUTPUT_POLARITY_HIGH;
  hrtc.Init.OutPutType = RTC_OUTPUT_TYPE_OPENDRAIN;
  if (HAL_RTC_Init(&hrtc) != HAL_OK)
  {
    Error_Handler();
  }

  /** Initialize RTC and set the Time and Date
  */
  sTime.Hours = 0x0;
  sTime.Minutes = 0x0;
  sTime.Seconds = 0x0;
  sTime.DayLightSaving = RTC_DAYLIGHTSAVING_NONE;
  sTime.StoreOperation = RTC_STOREOPERATION_RESET;
  if (HAL_RTC_SetTime(&hrtc, &sTime, RTC_FORMAT_BCD) != HAL_OK)
  {
    Error_Handler();
  }
  sDate.WeekDay = RTC_WEEKDAY_MONDAY;
  sDate.Month = RTC_MONTH_JANUARY;
  sDate.Date = 0x1;
  sDate.Year = 0x0;

  if (HAL_RTC_SetDate(&hrtc, &sDate, RTC_FORMAT_BCD) != HAL_OK)
  {
    Error_Handler();
  }

}

static void MX_SDIO_SD_Init(void)
{

  hsd.Instance = SDIO;
  hsd.Init.ClockEdge = SDIO_CLOCK_EDGE_RISING;
  hsd.Init.ClockBypass = SDIO_CLOCK_BYPASS_DISABLE;
  hsd.Init.ClockPowerSave = SDIO_CLOCK_POWER_SAVE_DISABLE;
  hsd.Init.BusWide = SDIO_BUS_WIDE_1B;
  hsd.Init.HardwareFlowControl = SDIO_HARDWARE_FLOW_CONTROL_DISABLE;
  hsd.Init.ClockDiv = 32;

}

static void MX_SPI1_Init(void)
{

  /* SPI1 parameter configuration*/
  hspi1.Instance = SPI1;
  hspi1.Init.Mode = SPI_MODE_MASTER;
  hspi1.Init.Direction = SPI_DIRECTION_2LINES;
  hspi1.Init.DataSize = SPI_DATASIZE_8BIT;
  hspi1.Init.CLKPolarity = SPI_POLARITY_LOW;
  hspi1.Init.CLKPhase = SPI_PHASE_1EDGE;
  hspi1.Init.NSS = SPI_NSS_SOFT;
  hspi1.Init.BaudRatePrescaler = SPI_BAUDRATEPRESCALER_2;
  hspi1.Init.FirstBit = SPI_FIRSTBIT_MSB;
  hspi1.Init.TIMode = SPI_TIMODE_DISABLE;
  hspi1.Init.CRCCalculation = SPI_CRCCALCULATION_DISABLE;
  hspi1.Init.CRCPolynomial = 10;
  if (HAL_SPI_Init(&hspi1) != HAL_OK)
  {
    Error_Handler();
  }

}

static void MX_SPI2_Init(void)
{

  /* SPI2 parameter configuration*/
  hspi2.Instance = SPI2;
  hspi2.Init.Mode = SPI_MODE_MASTER;
  hspi2.Init.Direction = SPI_DIRECTION_2LINES;
  hspi2.Init.DataSize = SPI_DATASIZE_8BIT;
  hspi2.Init.CLKPolarity = SPI_POLARITY_LOW;
  hspi2.Init.CLKPhase = SPI_PHASE_1EDGE;
  hspi2.Init.NSS = SPI_NSS_SOFT;
  hspi2.Init.BaudRatePrescaler = SPI_BAUDRATEPRESCALER_128;
  hspi2.Init.FirstBit = SPI_FIRSTBIT_MSB;
  hspi2.Init.TIMode = SPI_TIMODE_DISABLE;
  hspi2.Init.CRCCalculation = SPI_CRCCALCULATION_DISABLE;
  hspi2.Init.CRCPolynomial = 10;
  if (HAL_SPI_Init(&hspi2) != HAL_OK)
  {
    Error_Handler();
  }

}

static void MX_SPI3_Init(void)
{

  /* SPI3 parameter configuration*/
  hspi3.Instance = SPI3;
  hspi3.Init.Mode = SPI_MODE_MASTER;
  hspi3.Init.Direction = SPI_DIRECTION_2LINES;
  hspi3.Init.DataSize = SPI_DATASIZE_8BIT;
  hspi3.Init.CLKPolarity = SPI_POLARITY_LOW;
  hspi3.Init.CLKPhase = SPI_PHASE_1EDGE;
  hspi3.Init.NSS = SPI_NSS_SOFT;
  hspi3.Init.BaudRatePrescaler = SPI_BAUDRATEPRESCALER_64;
  hspi3.Init.FirstBit = SPI_FIRSTBIT_MSB;
  hspi3.Init.TIMode = SPI_TIMODE_DISABLE;
  hspi3.Init.CRCCalculation = SPI_CRCCALCULATION_DISABLE;
  hspi3.Init.CRCPolynomial = 10;
  if (HAL_SPI_Init(&hspi3) != HAL_OK)
  {
    Error_Handler();
  }

}

static void MX_TIM3_Init(void)
{

  TIM_MasterConfigTypeDef sMasterConfig = {0};
  TIM_OC_InitTypeDef sConfigOC = {0};

  htim3.Instance = TIM3;
  htim3.Init.Prescaler = 0;
  htim3.Init.CounterMode = TIM_COUNTERMODE_UP;
  htim3.Init.Period = 65535;
  htim3.Init.ClockDivision = TIM_CLOCKDIVISION_DIV1;
  htim3.Init.AutoReloadPreload = TIM_AUTORELOAD_PRELOAD_DISABLE;
  if (HAL_TIM_PWM_Init(&htim3) != HAL_OK)
  {
    Error_Handler();
  }
  sMasterConfig.MasterOutputTrigger = TIM_TRGO_RESET;
  sMasterConfig.MasterSlaveMode = TIM_MASTERSLAVEMODE_DISABLE;
  if (HAL_TIMEx_MasterConfigSynchronization(&htim3, &sMasterConfig) != HAL_OK)
  {
    Error_Handler();
  }
  sConfigOC.OCMode = TIM_OCMODE_PWM1;
  sConfigOC.Pulse = 0;
  sConfigOC.OCPolarity = TIM_OCPOLARITY_HIGH;
  sConfigOC.OCFastMode = TIM_OCFAST_DISABLE;
  if (HAL_TIM_PWM_ConfigChannel(&htim3, &sConfigOC, TIM_CHANNEL_3) != HAL_OK)
  {
    Error_Handler();
  }
  HAL_TIM_MspPostInit(&htim3);

}

static void MX_TIM14_Init(void)
{

  htim14.Instance = TIM14;
  htim14.Init.Prescaler = 0;
  htim14.Init.CounterMode = TIM_COUNTERMODE_UP;
  htim14.Init.Period = 65535;
  htim14.Init.ClockDivision = TIM_CLOCKDIVISION_DIV1;
  htim14.Init.AutoReloadPreload = TIM_AUTORELOAD_PRELOAD_DISABLE;
  if (HAL_TIM_Base_Init(&htim14) != HAL_OK)
  {
    Error_Handler();
  }

}

static void MX_UART4_Init(void)
{

  huart4.Instance = UART4;
  huart4.Init.BaudRate = 115200;
  huart4.Init.WordLength = UART_WORDLENGTH_8B;
  huart4.Init.StopBits = UART_STOPBITS_1;
  huart4.Init.Parity = UART_PARITY_NONE;
  huart4.Init.Mode = UART_MODE_TX_RX;
  huart4.Init.HwFlowCtl = UART_HWCONTROL_NONE;
  huart4.Init.OverSampling = UART_OVERSAMPLING_16;
  if (HAL_UART_Init(&huart4) != HAL_OK)
  {
    Error_Handler();
  }

}

static void MX_USART1_UART_Init(void)
{

  huart1.Instance = USART1;
  huart1.Init.BaudRate = 115200;
  huart1.Init.WordLength = UART_WORDLENGTH_8B;
  huart1.Init.StopBits = UART_STOPBITS_1;
  huart1.Init.Parity = UART_PARITY_NONE;
  huart1.Init.Mode = UART_MODE_TX_RX;
  huart1.Init.HwFlowCtl = UART_HWCONTROL_NONE;
  huart1.Init.OverSampling = UART_OVERSAMPLING_16;
  if (HAL_UART_Init(&huart1) != HAL_OK)
  {
    Error_Handler();
  }

}

static void MX_DMA_Init(void)
{

  /* DMA controller clock enable */
  __HAL_RCC_DMA2_CLK_ENABLE();
  __HAL_RCC_DMA1_CLK_ENABLE();

  /* DMA interrupt init */
  /* DMA1_Stream0_IRQn interrupt configuration */
  HAL_NVIC_SetPriority(DMA1_Stream0_IRQn, 0, 0);
  HAL_NVIC_EnableIRQ(DMA1_Stream0_IRQn);
  /* DMA1_Stream3_IRQn interrupt configuration */
  HAL_NVIC_SetPriority(DMA1_Stream3_IRQn, 0, 0);
  HAL_NVIC_EnableIRQ(DMA1_Stream3_IRQn);
  /* DMA1_Stream4_IRQn interrupt configuration */
  HAL_NVIC_SetPriority(DMA1_Stream4_IRQn, 0, 0);
  HAL_NVIC_EnableIRQ(DMA1_Stream4_IRQn);
  /* DMA1_Stream5_IRQn interrupt configuration */
  HAL_NVIC_SetPriority(DMA1_Stream5_IRQn, 0, 0);
  HAL_NVIC_EnableIRQ(DMA1_Stream5_IRQn);
  /* DMA2_Stream0_IRQn interrupt configuration */
  HAL_NVIC_SetPriority(DMA2_Stream0_IRQn, 0, 0);
  HAL_NVIC_EnableIRQ(DMA2_Stream0_IRQn);
  /* DMA2_Stream2_IRQn interrupt configuration */
  HAL_NVIC_SetPriority(DMA2_Stream2_IRQn, 0, 0);
  HAL_NVIC_EnableIRQ(DMA2_Stream2_IRQn);
  /* DMA2_Stream3_IRQn interrupt configuration */
  HAL_NVIC_SetPriority(DMA2_Stream3_IRQn, 0, 0);
  HAL_NVIC_EnableIRQ(DMA2_Stream3_IRQn);
  /* DMA2_Stream5_IRQn interrupt configuration */
  HAL_NVIC_SetPriority(DMA2_Stream5_IRQn, 0, 0);
  HAL_NVIC_EnableIRQ(DMA2_Stream5_IRQn);
  /* DMA2_Stream7_IRQn interrupt configuration */
  HAL_NVIC_SetPriority(DMA2_Stream7_IRQn, 0, 0);
  HAL_NVIC_EnableIRQ(DMA2_Stream7_IRQn);

}

static void MX_GPIO_Init(void)
{
  GPIO_InitTypeDef GPIO_InitStruct = {0};

  /* GPIO Ports Clock Enable */
  __HAL_RCC_GPIOC_CLK_ENABLE();
  __HAL_RCC_GPIOH_CLK_ENABLE();
  __HAL_RCC_GPIOA_CLK_ENABLE();
  __HAL_RCC_GPIOB_CLK_ENABLE();
  __HAL_RCC_GPIOD_CLK_ENABLE();

  /*Configure GPIO pin Output Level */
  HAL_GPIO_WritePin(GPIOA, USER_OUTPUT1_Pin|USER_OUTPUT2_Pin|SPI1_CS_Pin, GPIO_PIN_RESET);

  /*Configure GPIO pin Output Level */
  HAL_GPIO_WritePin(GPIOC, SPI1_RST_Pin|SPI1_DC_Pin|USB_POWER_Pin, GPIO_PIN_RESET);

  /*Configure GPIO pin Output Level */
  HAL_GPIO_WritePin(GPIOB, USER_LED_Pin|SPI2_CS_Pin|SPI3_CS_Pin|SPI3_RST_Pin, GPIO_PIN_RESET);

  /*Configure GPIO pins : USER_OUTPUT1_Pin USER_OUTPUT2_Pin SPI1_CS_Pin */
  GPIO_InitStruct.Pin = USER_OUTPUT1_Pin|USER_OUTPUT2_Pin|SPI1_CS_Pin;
  GPIO_InitStruct.Mode = GPIO_MODE_OUTPUT_PP;
  GPIO_InitStruct.Pull = GPIO_NOPULL;
  GPIO_InitStruct.Speed = GPIO_SPEED_FREQ_LOW;
  HAL_GPIO_Init(GPIOA, &GPIO_InitStruct);

  /*Configure GPIO pins : SPI1_RST_Pin SPI1_DC_Pin USB_POWER_Pin */
  GPIO_InitStruct.Pin = SPI1_RST_Pin|SPI1_DC_Pin|USB_POWER_Pin;
  GPIO_InitStruct.Mode = GPIO_MODE_OUTPUT_PP;
  GPIO_InitStruct.Pull = GPIO_NOPULL;
  GPIO_InitStruct.Speed = GPIO_SPEED_FREQ_LOW;
  HAL_GPIO_Init(GPIOC, &GPIO_InitStruct);

  /*Configure GPIO pins : USER_LED_Pin SPI2_CS_Pin SPI3_CS_Pin SPI3_RST_Pin */
  GPIO_InitStruct.Pin = USER_LED_Pin|SPI2_CS_Pin|SPI3_CS_Pin|SPI3_RST_Pin;
  GPIO_InitStruct.Mode = GPIO_MODE_OUTPUT_PP;
  GPIO_InitStruct.Pull = GPIO_NOPULL;
  GPIO_InitStruct.Speed = GPIO_SPEED_FREQ_LOW;
  HAL_GPIO_Init(GPIOB, &GPIO_InitStruct);

  /*Configure GPIO pin : SPI2_IRQ_Pin */
  GPIO_InitStruct.Pin = SPI2_IRQ_Pin;
  GPIO_InitStruct.Mode = GPIO_MODE_IT_RISING;
  GPIO_InitStruct.Pull = GPIO_NOPULL;
  HAL_GPIO_Init(SPI2_IRQ_GPIO_Port, &GPIO_InitStruct);

  /*Configure GPIO pin : SDIO_DET_Pin */
  GPIO_InitStruct.Pin = SDIO_DET_Pin;
  GPIO_InitStruct.Mode = GPIO_MODE_INPUT;
  GPIO_InitStruct.Pull = GPIO_NOPULL;
  HAL_GPIO_Init(SDIO_DET_GPIO_Port, &GPIO_InitStruct);

  /*Configure GPIO pin : SPI3_IRQ_Pin */
  GPIO_InitStruct.Pin = SPI3_IRQ_Pin;
  GPIO_InitStruct.Mode = GPIO_MODE_IT_RISING;
  GPIO_InitStruct.Pull = GPIO_NOPULL;
  HAL_GPIO_Init(SPI3_IRQ_GPIO_Port, &GPIO_InitStruct);

}

void Error_Handler(void)
{
	__disable_irq();
	while (1) {
	}
}
